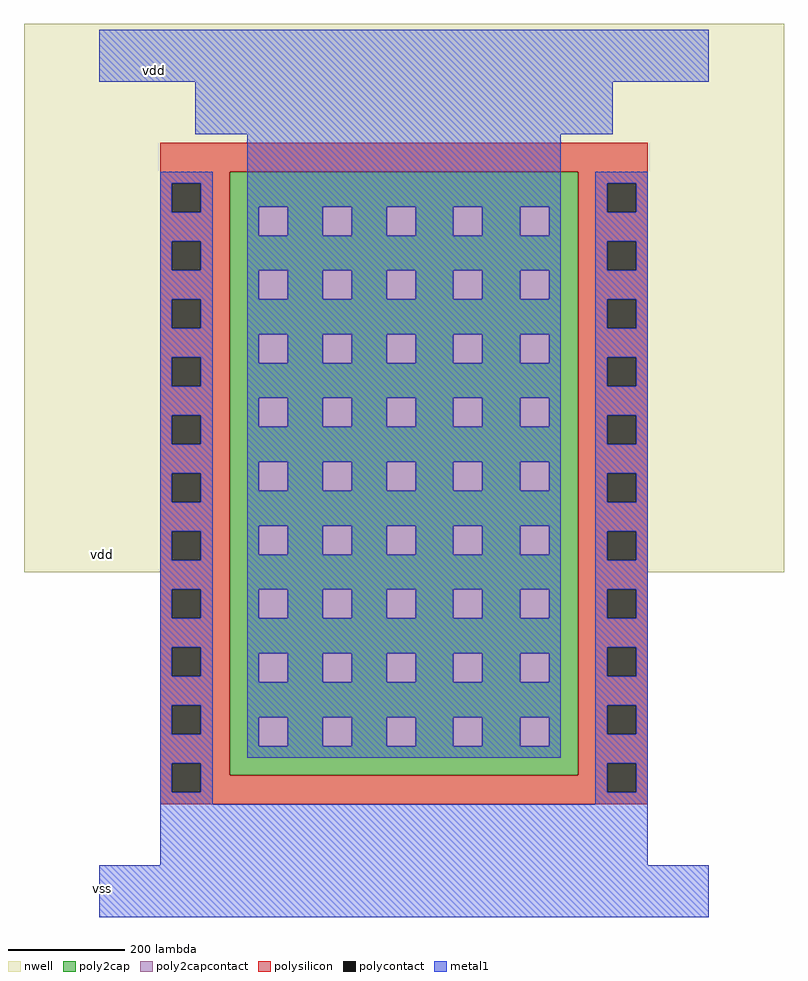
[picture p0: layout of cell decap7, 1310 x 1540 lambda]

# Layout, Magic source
magic
tech amic5n
<< nwell >>
rect -130 550 1180 1495
rect 105 150 945 550
<< polysilicon >>
rect 105 1240 945 1290
rect 105 1220 225 1240
rect 105 1170 125 1220
rect 175 1170 225 1220
rect 825 1220 945 1240
rect 105 1120 225 1170
rect 825 1170 875 1220
rect 925 1170 945 1220
rect 105 1070 125 1120
rect 175 1070 225 1120
rect 825 1120 945 1170
rect 825 1070 875 1120
rect 925 1070 945 1120
rect 105 1020 225 1070
rect 825 1020 945 1070
rect 105 970 125 1020
rect 175 970 225 1020
rect 105 920 225 970
rect 825 970 875 1020
rect 925 970 945 1020
rect 105 870 125 920
rect 175 870 225 920
rect 825 920 945 970
rect 105 820 225 870
rect 825 870 875 920
rect 925 870 945 920
rect 105 770 125 820
rect 175 770 225 820
rect 825 820 945 870
rect 105 720 225 770
rect 825 770 875 820
rect 925 770 945 820
rect 105 670 125 720
rect 175 670 225 720
rect 825 720 945 770
rect 105 620 225 670
rect 825 670 875 720
rect 925 670 945 720
rect 105 570 125 620
rect 175 570 225 620
rect 825 620 945 670
rect 105 520 225 570
rect 825 570 875 620
rect 925 570 945 620
rect 825 520 945 570
rect 105 470 125 520
rect 175 470 225 520
rect 825 470 875 520
rect 925 470 945 520
rect 105 420 225 470
rect 105 370 125 420
rect 175 370 225 420
rect 825 420 945 470
rect 105 320 225 370
rect 825 370 875 420
rect 925 370 945 420
rect 105 270 125 320
rect 175 270 225 320
rect 825 320 945 370
rect 105 220 225 270
rect 825 270 875 320
rect 925 270 945 320
rect 105 170 125 220
rect 175 200 225 220
rect 825 220 945 270
rect 825 200 875 220
rect 175 170 875 200
rect 925 170 945 220
rect 105 150 945 170
<< polycontact >>
rect 125 1170 175 1220
rect 875 1170 925 1220
rect 125 1070 175 1120
rect 875 1070 925 1120
rect 125 970 175 1020
rect 875 970 925 1020
rect 125 870 175 920
rect 875 870 925 920
rect 125 770 175 820
rect 875 770 925 820
rect 125 670 175 720
rect 875 670 925 720
rect 125 570 175 620
rect 875 570 925 620
rect 125 470 175 520
rect 875 470 925 520
rect 125 370 175 420
rect 875 370 925 420
rect 125 270 175 320
rect 875 270 925 320
rect 125 170 175 220
rect 875 170 925 220
<< poly2cap >>
rect 225 1180 825 1240
rect 225 1130 275 1180
rect 325 1130 385 1180
rect 435 1130 495 1180
rect 545 1130 610 1180
rect 660 1130 725 1180
rect 775 1130 825 1180
rect 225 1070 825 1130
rect 225 1020 275 1070
rect 325 1020 385 1070
rect 435 1020 495 1070
rect 545 1020 610 1070
rect 660 1020 725 1070
rect 775 1020 825 1070
rect 225 960 825 1020
rect 225 910 275 960
rect 325 910 385 960
rect 435 910 495 960
rect 545 910 610 960
rect 660 910 725 960
rect 775 910 825 960
rect 225 850 825 910
rect 225 800 275 850
rect 325 800 385 850
rect 435 800 495 850
rect 545 800 610 850
rect 660 800 725 850
rect 775 800 825 850
rect 225 740 825 800
rect 225 690 275 740
rect 325 690 385 740
rect 435 690 495 740
rect 545 690 610 740
rect 660 690 725 740
rect 775 690 825 740
rect 225 630 825 690
rect 225 580 275 630
rect 325 580 385 630
rect 435 580 495 630
rect 545 580 610 630
rect 660 580 725 630
rect 775 580 825 630
rect 225 520 825 580
rect 225 470 275 520
rect 325 470 385 520
rect 435 470 495 520
rect 545 470 610 520
rect 660 470 725 520
rect 775 470 825 520
rect 225 410 825 470
rect 225 360 275 410
rect 325 360 385 410
rect 435 360 495 410
rect 545 360 610 410
rect 660 360 725 410
rect 775 360 825 410
rect 225 300 825 360
rect 225 250 275 300
rect 325 250 385 300
rect 435 250 495 300
rect 545 250 610 300
rect 660 250 725 300
rect 775 250 825 300
rect 225 200 825 250
<< poly2capcontact >>
rect 275 1130 325 1180
rect 385 1130 435 1180
rect 495 1130 545 1180
rect 610 1130 660 1180
rect 725 1130 775 1180
rect 275 1020 325 1070
rect 385 1020 435 1070
rect 495 1020 545 1070
rect 610 1020 660 1070
rect 725 1020 775 1070
rect 275 910 325 960
rect 385 910 435 960
rect 495 910 545 960
rect 610 910 660 960
rect 725 910 775 960
rect 275 800 325 850
rect 385 800 435 850
rect 495 800 545 850
rect 610 800 660 850
rect 725 800 775 850
rect 275 690 325 740
rect 385 690 435 740
rect 495 690 545 740
rect 610 690 660 740
rect 725 690 775 740
rect 275 580 325 630
rect 385 580 435 630
rect 495 580 545 630
rect 610 580 660 630
rect 725 580 775 630
rect 275 470 325 520
rect 385 470 435 520
rect 495 470 545 520
rect 610 470 660 520
rect 725 470 775 520
rect 275 360 325 410
rect 385 360 435 410
rect 495 360 545 410
rect 610 360 660 410
rect 725 360 775 410
rect 275 250 325 300
rect 385 250 435 300
rect 495 250 545 300
rect 610 250 660 300
rect 725 250 775 300
<< metal1 >>
rect 0 1395 1050 1485
rect 165 1305 885 1395
rect 105 1220 195 1240
rect 105 1170 125 1220
rect 175 1170 195 1220
rect 105 1120 195 1170
rect 105 1070 125 1120
rect 175 1070 195 1120
rect 105 1020 195 1070
rect 105 970 125 1020
rect 175 970 195 1020
rect 105 920 195 970
rect 105 870 125 920
rect 175 870 195 920
rect 105 820 195 870
rect 105 770 125 820
rect 175 770 195 820
rect 105 720 195 770
rect 105 670 125 720
rect 175 670 195 720
rect 105 620 195 670
rect 105 570 125 620
rect 175 570 195 620
rect 105 520 195 570
rect 105 470 125 520
rect 175 470 195 520
rect 105 420 195 470
rect 105 370 125 420
rect 175 370 195 420
rect 105 320 195 370
rect 105 270 125 320
rect 175 270 195 320
rect 105 220 195 270
rect 255 1180 795 1305
rect 255 1130 275 1180
rect 325 1130 385 1180
rect 435 1130 495 1180
rect 545 1130 610 1180
rect 660 1130 725 1180
rect 775 1130 795 1180
rect 255 1070 795 1130
rect 255 1020 275 1070
rect 325 1020 385 1070
rect 435 1020 495 1070
rect 545 1020 610 1070
rect 660 1020 725 1070
rect 775 1020 795 1070
rect 255 960 795 1020
rect 255 910 275 960
rect 325 910 385 960
rect 435 910 495 960
rect 545 910 610 960
rect 660 910 725 960
rect 775 910 795 960
rect 255 850 795 910
rect 255 800 275 850
rect 325 800 385 850
rect 435 800 495 850
rect 545 800 610 850
rect 660 800 725 850
rect 775 800 795 850
rect 255 740 795 800
rect 255 690 275 740
rect 325 690 385 740
rect 435 690 495 740
rect 545 690 610 740
rect 660 690 725 740
rect 775 690 795 740
rect 255 630 795 690
rect 255 580 275 630
rect 325 580 385 630
rect 435 580 495 630
rect 545 580 610 630
rect 660 580 725 630
rect 775 580 795 630
rect 255 520 795 580
rect 255 470 275 520
rect 325 470 385 520
rect 435 470 495 520
rect 545 470 610 520
rect 660 470 725 520
rect 775 470 795 520
rect 255 410 795 470
rect 255 360 275 410
rect 325 360 385 410
rect 435 360 495 410
rect 545 360 610 410
rect 660 360 725 410
rect 775 360 795 410
rect 255 300 795 360
rect 255 250 275 300
rect 325 250 385 300
rect 435 250 495 300
rect 545 250 610 300
rect 660 250 725 300
rect 775 250 795 300
rect 255 230 795 250
rect 855 1220 945 1240
rect 855 1170 875 1220
rect 925 1170 945 1220
rect 855 1120 945 1170
rect 855 1070 875 1120
rect 925 1070 945 1120
rect 855 1020 945 1070
rect 855 970 875 1020
rect 925 970 945 1020
rect 855 920 945 970
rect 855 870 875 920
rect 925 870 945 920
rect 855 820 945 870
rect 855 770 875 820
rect 925 770 945 820
rect 855 720 945 770
rect 855 670 875 720
rect 925 670 945 720
rect 855 620 945 670
rect 855 570 875 620
rect 925 570 945 620
rect 855 520 945 570
rect 855 470 875 520
rect 925 470 945 520
rect 855 420 945 470
rect 855 370 875 420
rect 925 370 945 420
rect 855 320 945 370
rect 855 270 875 320
rect 925 270 945 320
rect 105 170 125 220
rect 175 170 195 220
rect 105 150 195 170
rect 855 220 945 270
rect 855 170 875 220
rect 925 170 945 220
rect 855 150 945 170
rect 105 45 945 150
rect 0 -45 1050 45
<< labels >>
flabel metal1 s 95 1415 95 1415 2 FreeSans 400 0 0 0 vdd
port 0 ne
flabel metal1 s 5 5 5 5 2 FreeSans 400 0 0 0 vss
port 1 ne
flabel nwell 5 580 5 580 2 FreeSans 400 0 0 0 vdd
<< properties >>
string LEFsite core
string LEFclass CORE
string FIXED_BBOX 0 0 1050 1440
string LEFsymmetry X Y
<< end >>
